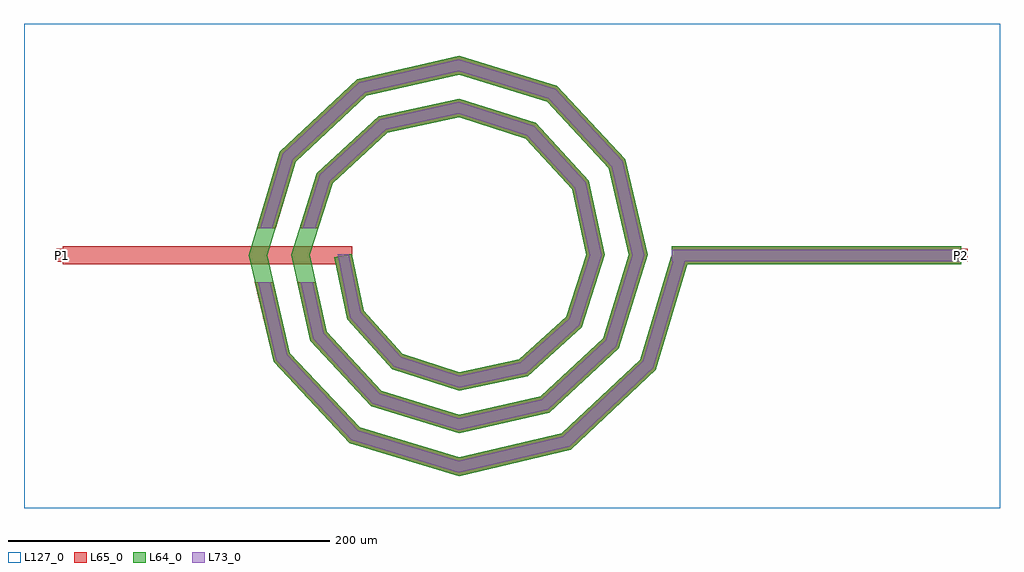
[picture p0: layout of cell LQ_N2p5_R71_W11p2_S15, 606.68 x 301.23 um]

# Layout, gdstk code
import gdstk
lib = gdstk.Library(unit=1e-6, precision=1e-09)
def R(c, l, rs):  # rectangles x0, y0, x1, y1
    for r in rs: c.add(gdstk.rectangle(r[:2], r[2:], *l))
def P(c, l, *ps):  # polygons
    for p in ps: c.add(gdstk.Polygon(p, *l))
L64_0 = (64, 0)
L65_0 = (65, 0)
L73_0 = (73, 0)
L127_0 = (127, 0)

lq_n2p5_r71_w11p2_s15 = lib.new_cell('LQ_N2p5_R71_W11p2_S15')
R(lq_n2p5_r71_w11p2_s15, L64_0, [(132.468,-5.6,312.468,5.6)])
P(lq_n2p5_r71_w11p2_s15, L64_0, [(-58.931,-34.396),(-34.95,-61.161),(0.304,-72.65),(37.685,-64.681),(66.885,-38.284),(79.274,0.281),(70.429,40.978),(41.614,72.612),(0.26,85.899),(-44.274,76.176),(-78.34,44.942),(-92.523,0.243),(-81.921,-47.572),(-48.269,-84.069),(0.228,-99.148),(50.871,-87.666),(89.799,-51.593),(105.773,0.214),(93.41,54.172),(54.916,95.53),(0.202,112.398),(-57.475,99.153),(-101.262,58.239),(-119.023,0.191),(-104.895,-60.778),(-61.56,-106.994),(0.182,-125.648),(64.083,-110.637),(112.727,-64.88),(132.705,1.611),(143.431,-1.611),(122.589,-70.98),(69.568,-120.854),(0.182,-137.238),(-67.675,-116.847),(-115.12,-66.248),(-130.612,0.191),(-111.104,64.371),(-62.926,109.388),(0.202,123.987),(61.068,105.36),(103.655,59.603),(117.361,0.214),(99.616,-57.766),(56.279,-97.924),(0.228,-110.736),(-54.465,-93.871),(-92.193,-52.953),(-104.11,0.243),(-88.125,51.166),(-49.626,86.463),(0.26,97.484),(47.869,82.377),(80.735,46.296),(90.858,0.281),(76.628,-44.574),(42.964,-75.007),(0.304,-84.232),(-41.282,-70.877),(-69.282,-39.628),(-77.298,-1.142),(-66.333,1.142)])
R(lq_n2p5_r71_w11p2_s15, L65_0, [(-246.216,-5.6,-66.216,5.6), (132.468,-5.6,312.468,5.6), (-250.216,-4,-242.216,4), (308.468,-4,316.468,4)])
P(lq_n2p5_r71_w11p2_s15, L65_0, [(-104.895,-60.778),(-61.56,-106.994),(0.182,-125.648),(64.083,-110.637),(112.727,-64.88),(132.705,1.611),(143.431,-1.611),(122.589,-70.98),(69.569,-120.854),(0.182,-137.238),(-67.675,-116.847),(-115.12,-66.248),(-126.65,-16.8),(-115.15,-16.8)],
  [(-81.921,-47.572),(-48.269,-84.069),(0.228,-99.148),(50.871,-87.666),(89.799,-51.593),(105.773,0.214),(93.41,54.172),(54.917,95.53),(0.202,112.398),(-57.475,99.153),(-101.262,58.239),(-113.858,16.8),(-125.564,16.8),(-111.104,64.371),(-62.926,109.388),(0.202,123.987),(61.068,105.36),(103.656,59.603),(117.361,0.214),(99.616,-57.766),(56.279,-97.924),(0.228,-110.736),(-54.465,-93.871),(-92.193,-52.954),(-100.292,-16.8),(-88.814,-16.8)],
  [(-34.95,-61.161),(0.304,-72.65),(37.685,-64.681),(66.885,-38.284),(79.274,0.281),(70.429,40.978),(41.614,72.612),(0.26,85.899),(-44.274,76.176),(-78.34,44.943),(-87.174,16.8),(-98.912,16.8),(-88.125,51.166),(-49.626,86.463),(0.26,97.484),(47.869,82.377),(80.735,46.296),(90.858,0.281),(76.628,-44.574),(42.964,-75.008),(0.304,-84.232),(-41.283,-70.877),(-69.282,-39.628),(-77.298,-1.142),(-66.333,1.142),(-58.931,-34.396)])
R(lq_n2p5_r71_w11p2_s15, L73_0, [(132.468,-3.6,312.468,3.6)])
P(lq_n2p5_r71_w11p2_s15, L73_0, [(-106.721,-61.755),(-62.652,-108.753),(0.117,-127.717),(65.062,-112.462),(114.488,-65.969),(134.62,1.036),(141.516,-1.036),(120.828,-69.891),(68.589,-119.029),(0.117,-135.168),(-66.583,-115.087),(-113.294,-65.271),(-124.597,-16.8),(-117.204,-16.8)],
  [(-83.756,-48.533),(-49.375,-85.819),(0.146,-101.217),(51.837,-89.498),(91.552,-52.695),(107.842,0.138),(95.239,55.142),(56.015,97.285),(0.13,114.467),(-58.448,100.98),(-103.019,59.334),(-115.948,16.8),(-123.474,16.8),(-109.346,63.276),(-61.953,107.56),(0.13,121.917),(59.969,103.605),(101.826,58.633),(115.292,0.138),(97.863,-56.663),(55.313,-96.092),(0.146,-108.666),(-53.358,-92.121),(-90.359,-51.992),(-98.243,-16.8),(-90.864,-16.8)],
  [(-36.081,-62.896),(0.196,-74.718),(38.628,-66.525),(68.625,-39.407),(81.343,0.18),(72.27,41.928),(42.731,74.356),(0.167,87.968),(-45.23,78.013),(-80.087,46.054),(-89.27,16.8),(-96.816,16.8),(-86.377,50.054),(-48.67,84.626),(0.167,95.415),(46.752,80.634),(78.895,45.347),(88.789,0.18),(74.889,-43.451),(42.021,-73.164),(0.196,-82.164),(-40.152,-69.142),(-67.434,-38.694),(-75.34,0.734),(-68.291,0.734),(-60.78,-35.331)])
R(lq_n2p5_r71_w11p2_s15, L127_0, [(-270.216,-157.238,336.468,143.987)])
lq_n2p5_r71_w11p2_s15.add(gdstk.Label('P2', (312.468,0), layer=65, texttype=0))
lq_n2p5_r71_w11p2_s15.add(gdstk.Label('P1', (-246.216,0), layer=65, texttype=0))
lq_n2p5_r71_w11p2_s15.add(gdstk.Label('P2', (316.468,0), layer=145, texttype=0))
lq_n2p5_r71_w11p2_s15.add(gdstk.Label('P1', (-250.216,0), layer=145, texttype=0))

lib.write_gds('LQ_N2p5_R71_W11p2_S15.gds')
